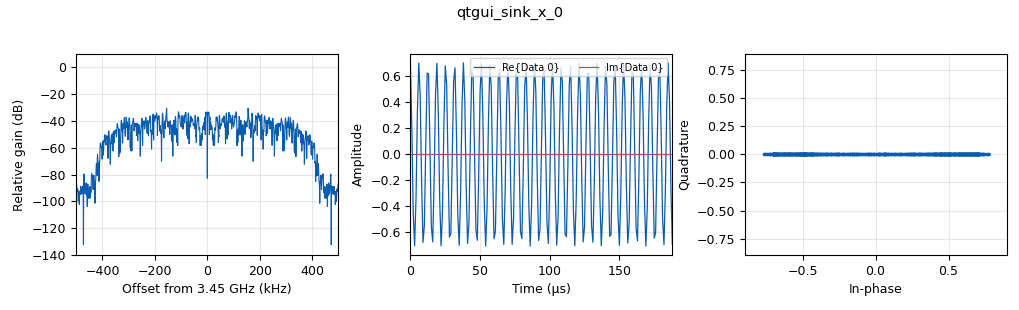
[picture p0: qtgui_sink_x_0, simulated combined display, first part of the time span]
options:
  parameters:
    author: Barry Duggan
    description: packet transmit (for GNURadio 3.8)
    generate_options: qt_gui
    id: pkt_xmt_gr38
    output_language: python
    title: pkt_xmt_gr38
  states: {}

blocks:
- name: SDR_ID
  id: variable
  parameters:
    value: '"ip:192.168.2.1"'
  states: {}
- name: bandwidth
  id: variable
  parameters:
    value: '20000000'
  states: {}
- name: bpsk
  id: variable_constellation
  parameters:
    precision: '8'
    type: bpsk
  states: {}
- name: buffer_size
  id: variable
  parameters:
    value: '0x8000'
  states: {}
- name: excess_bw
  id: variable
  parameters:
    value: '0.35'
  states: {}
- name: freq
  id: variable
  parameters:
    value: '3450000000'
  states: {}
- name: gain
  id: variable
  parameters:
    value: '0'
  states: {}
- name: gain_TX
  id: variable_qtgui_range
  parameters:
    orient: Qt.Horizontal
    start: '-31'
    step: '1'
    stop: '89'
    value: '31'
  states: {}
- name: rs_ratio
  id: variable
  parameters:
    value: '1.040'
  states: {}
- name: samp_rate
  id: variable
  parameters:
    value: '1000000'
  states: {}
- name: sps
  id: variable
  parameters:
    value: '2'
  states: {}
- name: usrp_rate
  id: variable
  parameters:
    value: '768000'
  states: {}
- name: blocks_message_strobe_0
  id: blocks_message_strobe
  parameters:
    msg: pmt.cons(pmt.PMT_NIL,pmt.init_u8vector(42 ,[123, 39, 73, 68, 39, 58, 49, 44, 39, 109, 115, 103, 39, 58, 39, 104, 101, 108, 108, 111, 39, 44, 39, 116, 115, 39, 58, 50, 48, 50, 51, 48, 56, 48, 55, 49, 53, 53, 55, 48, 48, 125]))
    period: '100'
  states: {}
- name: blocks_multiply_const_vxx_0
  id: blocks_multiply_const_vxx
  parameters:
    const: '0.5'
    type: complex
  states: {}
- name: blocks_pdu_to_tagged_stream_0
  id: blocks_pdu_to_tagged_stream
  parameters:
    tag: packet_len
    type: byte
  states: {}
- name: blocks_throttle_0
  id: blocks_throttle
  parameters:
    samples_per_second: samp_rate
    type: complex
  states: {}
- name: digital_constellation_modulator_0
  id: digital_constellation_modulator
  parameters:
    constellation: bpsk
    differential: 'True'
    excess_bw: excess_bw
    samples_per_symbol: sps
  states: {}
- name: digital_crc32_async_bb_1
  id: digital_crc32_async_bb
  parameters:
    check: 'False'
  states: {}
- name: import_0
  id: import
  parameters:
    imports: import numpy
  states: {}
- name: mmse_resampler_xx_0
  id: mmse_resampler_xx
  parameters:
    phase_shift: '0'
    resamp_ratio: 1.0/((usrp_rate/samp_rate)*rs_ratio)
    type: complex
  states: {}
- name: packet_format_gr38
  id: epy_block
  parameters:
    _source_code: |
      """
      Embedded Python Block
      """

      import numpy as np
      from gnuradio import gr
      import pmt
      import array
      class blk(gr.sync_block):
          """Packet Format"""

          def __init__(self):
              gr.sync_block.__init__(self,
                  name = "Packet Format GR38",
                  in_sig = None,
                  out_sig = None)
              self.message_port_register_in(pmt.intern('PDU_in'))
              self.message_port_register_out(pmt.intern('PDU_out0'))
              self.set_msg_handler(pmt.intern('PDU_in'), self.handle_msg)

          def handle_msg(self, msg):
              inMsg = pmt.to_python (msg)
              pld = inMsg[1] ## type-> numpy.ndarray
              mLen = len(pld)
              if (mLen > 0):
                  ## create a numpy array of type 'int' with preamble and sync word
                  tmp_char_list = np.array([85,85,85,85,85,85,85,85,85,85,85,85,85,85,85,85,85,85,85,85,85,85,85,85,85,85,85,85,85,85,85,85,225,90,232,147],dtype=int)
                  ## append length 2x
                  tmp_char_list=np.append(tmp_char_list,(mLen >> 8))
                  tmp_char_list=np.append(tmp_char_list,(mLen & 255))
                  tmp_char_list=np.append(tmp_char_list,(mLen >> 8))
                  tmp_char_list=np.append(tmp_char_list,(mLen & 255))
                  tmp_char_list_len=len(tmp_char_list)
                  ## append original payload
                  new_char_list=np.insert(tmp_char_list,tmp_char_list_len,pld)
                  new_char_list_len=len(new_char_list)
                  ## save final numpy array as byte array (requires 'import array')
                  byte_array_new_char_list=array.array('B',new_char_list)
                  new_bytes_out_len = len(byte_array_new_char_list)
                  ## create PMT u8vector using byte array
                  new_out_bytes_pmt=pmt.cons(pmt.PMT_NIL,pmt.init_u8vector(new_bytes_out_len,(byte_array_new_char_list)))
                  self.message_port_pub(pmt.intern('PDU_out0'), new_out_bytes_pmt)
  states: {}
- name: qtgui_sink_x_0
  id: qtgui_sink_x
  parameters:
    bw: samp_rate
    fc: freq
    fftsize: '1024'
    type: complex
    wintype: firdes.WIN_BLACKMAN_hARRIS
  states: {}
- name: uhd_usrp_sink_0
  id: uhd_usrp_sink
  parameters:
    ant0: TX/RX
    center_freq0: freq
    clock_rate: 30.72e6
    dev_args: '""'
    gain0: gain_TX
    len_tag_name: ''
    norm_gain0: 'False'
    samp_rate: samp_rate
    sync: sync
    type: fc32
  states: {}
- name: virtual_sink_0
  id: virtual_sink
  parameters:
    stream_id: tx1
  states: {}
- name: virtual_source_0
  id: virtual_source
  parameters:
    stream_id: tx1
  states: {}

connections:
- [blocks_message_strobe_0, strobe, digital_crc32_async_bb_1, in]
- [blocks_multiply_const_vxx_0, '0', mmse_resampler_xx_0, '0']
- [blocks_pdu_to_tagged_stream_0, '0', digital_constellation_modulator_0, '0']
- [blocks_throttle_0, '0', blocks_multiply_const_vxx_0, '0']
- [digital_constellation_modulator_0, '0', virtual_sink_0, '0']
- [digital_crc32_async_bb_1, out, packet_format_gr38, PDU_in]
- [mmse_resampler_xx_0, '0', qtgui_sink_x_0, '0']
- [mmse_resampler_xx_0, '0', uhd_usrp_sink_0, '0']
- [packet_format_gr38, PDU_out0, blocks_pdu_to_tagged_stream_0, pdus]
- [virtual_source_0, '0', blocks_throttle_0, '0']

metadata:
  file_format: 1
